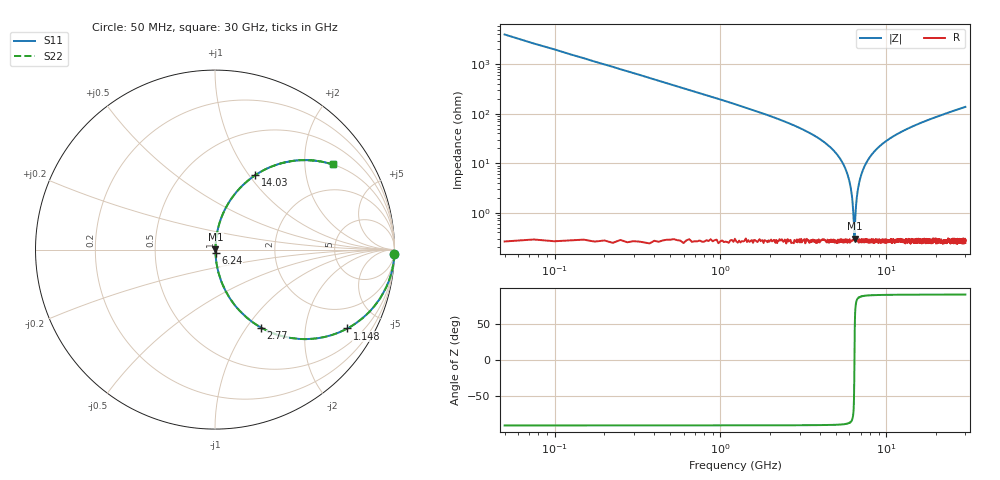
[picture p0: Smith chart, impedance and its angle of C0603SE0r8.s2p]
!	AVX Thin Film Operation 	Date: April 2014
!	Description: Accu-P® Series, Thin Film  SMD RF Capacitor
!	Part Number: 06031J0R8PBSTR
# MHZ S MA R 50
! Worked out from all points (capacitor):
!   1201 points, 50 MHz to 30 GHz, reference 50 ohm
!   read as one part in series: C = 800 fF near 199.8 MHz
!   lowest |Z| = 301 mohm at 6.439 GHz (marker M1)
!   series resonance near 6.429 GHz, so ESL is about 770 pH
!   S11 on the Smith chart (normalised r, x): 50 MHz: 0, -80; 1.148 GHz: 1.01, -3.35; 2.77 GHz: 1.01, -1.17; 6.24 GHz: 1.01, -0.04; 14.03 GHz: 1.00, +1.07; 30 GHz: 1.00, +2.76
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50  1 -1.4  0.025 88.6  0.025 88.6  1 -1.4
249.667  0.992 -7.2  0.125 82.8  0.125 82.8  0.992 -7.2
424.375  0.978 -12.1  0.209 77.9  0.209 77.9  0.978 -12.1
1148.167  0.858 -30.8  0.512 59.1  0.512 59.1  0.858 -30.8
2770.458  0.504 -59.5  0.862 30.2  0.862 30.2  0.504 -59.5
5041.667  0.15 -80.4  0.986 8.6  0.986 8.6  0.15 -80.4
5840.333  0.059 -84.0  0.996 3.4  0.996 3.4  0.059 -84.0
6089.917  0.034 -83.5  0.997 1.9  0.997 1.9  0.034 -83.5
6239.667  0.019 -80.6  0.997 1.1  0.997 1.1  0.019 -80.6
6339.5  0.009086 -72.3  0.997 0.5  0.997 0.5  0.009086 -72.3
6439.333  0.002862 19.7  0.997 -0.1  0.997 -0.1  0.002862 19.7
6539.167  0.011 75.0  0.997 -0.6  0.997 -0.6  0.011 75.0
6663.958  0.022 81.8  0.997 -1.3  0.997 -1.3  0.022 81.8
6838.667  0.038 83.8  0.997 -2.2  0.997 -2.2  0.038 83.8
7362.792  0.084 83.4  0.994 -4.8  0.994 -4.8  0.084 83.4
8386.083  0.164 79.6  0.984 -9.4  0.984 -9.4  0.164 79.6
10058.29  0.275 73.5  0.959 -15.9  0.959 -15.9  0.275 73.5
14026.67  0.47 61.7  0.881 -28.0  0.881 -28.0  0.47 61.7
15025  0.508 59.2  0.859 -30.5  0.859 -30.5  0.508 59.2
20016.67  0.653 49.1  0.756 -40.8  0.756 -40.8  0.653 49.1
25033.29  0.747 41.6  0.663 -48.3  0.663 -48.3  0.747 41.6
30000  0.809 35.9  0.587 -54.0  0.587 -54.0  0.809 35.9
